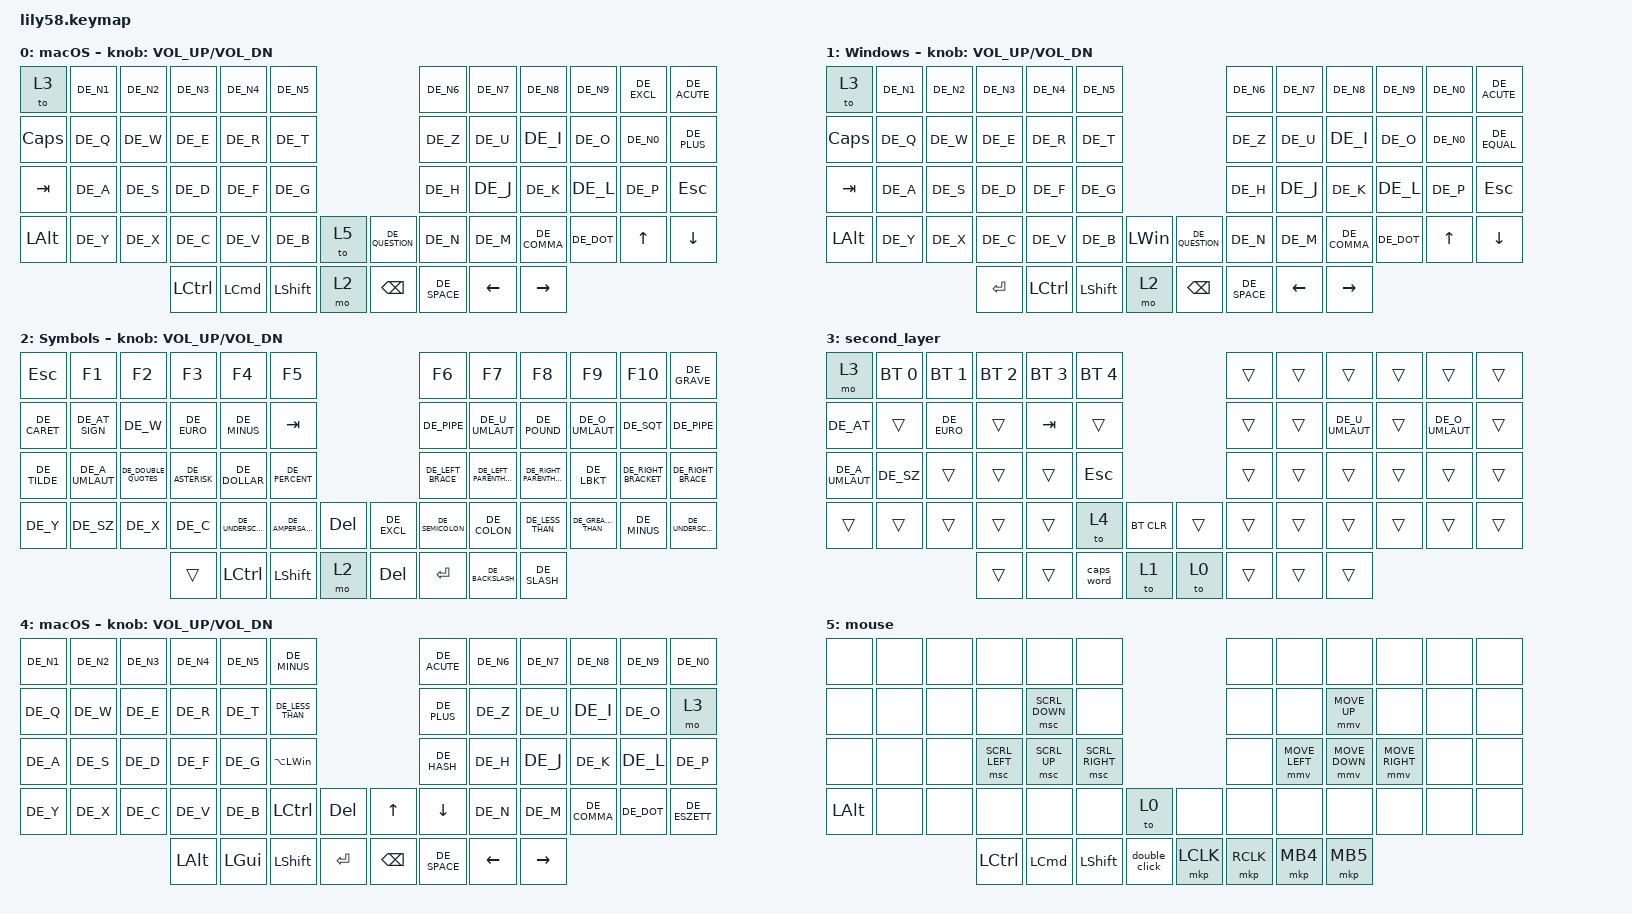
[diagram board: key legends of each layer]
/*
 * Copyright (c) 2020 The ZMK Contributors
 *
 * SPDX-License-Identifier: MIT
 */

#include "keys_de.h"

#define ZMK_POINTING_DEFAULT_MOVE_VAL 1000  // default: 600
#define ZMK_POINTING_DEFAULT_SCRL_VAL 10    // default: 10

#include <behaviors.dtsi>
#include <dt-bindings/zmk/bt.h>
#include <dt-bindings/zmk/keys.h>
#include <dt-bindings/zmk/pointing.h>

/ {
    macros {
        custom_less_then: custom_less_then {
            compatible = "zmk,behavior-macro";
            #binding-cells = <0>;
            bindings = <&kp LT>;
            label = "CUSTOM_LESS_THEN";
        };

        double_click: double_click {
            compatible = "zmk,behavior-macro";
            #binding-cells = <0>;
            bindings = <&mkp LCLK &mkp LCLK &to 0>;
            label = "DOUBLE_CLICK";
        };
    };

    keymap {
        compatible = "zmk,keymap";

        mac_base {
            display-name = "macOS";
            bindings = <
&to 3         &kp DE_N1  &kp DE_N2  &kp DE_N3         &kp DE_N4         &kp DE_N5                                 &kp DE_N6     &kp DE_N7       &kp DE_N8        &kp DE_N9   &kp DE_EXCL   &kp DE_ACUTE
&kp CAPSLOCK  &kp DE_Q   &kp DE_W   &kp DE_E          &kp DE_R          &kp DE_T                                  &kp DE_Z      &kp DE_U        &kp DE_I         &kp DE_O    &kp DE_N0     &kp DE_PLUS
&kp TAB       &kp DE_A   &kp DE_S   &kp DE_D          &kp DE_F          &kp DE_G                                  &kp DE_H      &kp DE_J        &kp DE_K         &kp DE_L    &kp DE_P      &kp ESCAPE
&kp LEFT_ALT  &kp DE_Y   &kp DE_X   &kp DE_C          &kp DE_V          &kp DE_B        &to 5    &kp DE_QUESTION  &kp DE_N      &kp DE_M        &kp DE_COMMA     &kp DE_DOT  &kp UP_ARROW  &kp DOWN_ARROW
                                    &kp LEFT_CONTROL  &kp LEFT_COMMAND  &kp LEFT_SHIFT  &mo 2    &kp BACKSPACE    &kp DE_SPACE  &kp LEFT_ARROW  &kp RIGHT_ARROW
            >;

            sensor-bindings = <&inc_dec_kp C_VOL_UP C_VOL_DN>;
        };

        windows_base {
            display-name = "Windows";
            bindings = <
&to 3         &kp DE_N1  &kp DE_N2  &kp DE_N3  &kp DE_N4         &kp DE_N5                                        &kp DE_N6     &kp DE_N7       &kp DE_N8        &kp DE_N9   &kp DE_N0     &kp DE_ACUTE
&kp CAPSLOCK  &kp DE_Q   &kp DE_W   &kp DE_E   &kp DE_R          &kp DE_T                                         &kp DE_Z      &kp DE_U        &kp DE_I         &kp DE_O    &kp DE_N0     &kp DE_EQUAL
&kp TAB       &kp DE_A   &kp DE_S   &kp DE_D   &kp DE_F          &kp DE_G                                         &kp DE_H      &kp DE_J        &kp DE_K         &kp DE_L    &kp DE_P      &kp ESCAPE
&kp LEFT_ALT  &kp DE_Y   &kp DE_X   &kp DE_C   &kp DE_V          &kp DE_B        &kp LEFT_WIN    &kp DE_QUESTION  &kp DE_N      &kp DE_M        &kp DE_COMMA     &kp DE_DOT  &kp UP_ARROW  &kp DOWN_ARROW
                                    &kp ENTER  &kp LEFT_CONTROL  &kp LEFT_SHIFT  &mo 2           &kp BACKSPACE    &kp DE_SPACE  &kp LEFT_ARROW  &kp RIGHT_ARROW
            >;

            sensor-bindings = <&inc_dec_kp C_VOL_UP C_VOL_DN>;
        };

        symbols {
            display-name = "Symbols";
            bindings = <
&kp ESCAPE    &kp F1           &kp F2                &kp F3           &kp F4             &kp F5                                       &kp F6             &kp F7                   &kp F8                    &kp F9               &kp F10               &kp DE_GRAVE
&kp DE_CARET  &kp DE_AT_SIGN   &kp DE_W              &kp DE_EURO      &kp DE_MINUS       &kp TAB                                      &kp DE_PIPE        &kp DE_U_UMLAUT          &kp DE_POUND              &kp DE_O_UMLAUT      &kp DE_SQT            &kp DE_PIPE
&kp DE_TILDE  &kp DE_A_UMLAUT  &kp DE_DOUBLE_QUOTES  &kp DE_ASTERISK  &kp DE_DOLLAR      &kp DE_PERCENT                               &kp DE_LEFT_BRACE  &kp DE_LEFT_PARENTHESIS  &kp DE_RIGHT_PARENTHESIS  &kp DE_LBKT          &kp DE_RIGHT_BRACKET  &kp DE_RIGHT_BRACE
&kp DE_Y      &kp DE_SZ        &kp DE_X              &kp DE_C         &kp DE_UNDERSCORE  &kp DE_AMPERSAND  &kp DELETE    &kp DE_EXCL  &kp DE_SEMICOLON   &kp DE_COLON             &kp DE_LESS_THAN          &kp DE_GREATER_THAN  &kp DE_MINUS          &kp DE_UNDERSCORE
                                                     &trans           &kp LEFT_CONTROL   &kp LEFT_SHIFT    &mo 2         &kp DELETE   &kp ENTER          &kp DE_BACKSLASH         &kp DE_SLASH
            >;

            sensor-bindings = <&inc_dec_kp C_VOL_UP C_VOL_DN>;
        };

        second_layer {
            bindings = <
&mo 3            &bt BT_SEL 0  &bt BT_SEL 1  &bt BT_SEL 2  &bt BT_SEL 3  &bt BT_SEL 4                        &trans  &trans  &trans           &trans  &trans           &trans
&kp DE_AT        &trans        &kp DE_EURO   &trans        &kp TAB       &trans                              &trans  &trans  &kp DE_U_UMLAUT  &trans  &kp DE_O_UMLAUT  &trans
&kp DE_A_UMLAUT  &kp DE_SZ     &trans        &trans        &trans        &kp ESCAPE                          &trans  &trans  &trans           &trans  &trans           &trans
&trans           &trans        &trans        &trans        &trans        &to 4         &bt BT_CLR    &trans  &trans  &trans  &trans           &trans  &trans           &trans
                                             &trans        &trans        &caps_word    &to 1         &to 0   &trans  &trans  &trans
            >;
        };

        default_layer {
            // ------------------------------------------------------------------------------------------------------------
            // |  ESC  |  1  |  2  |  3   |  4   |  5   |                   |  6   |  7    |  8    |  9   |   0   |   `   |
            // |  TAB  |  Q  |  W  |  E   |  R   |  T   |                   |  Y   |  U    |  I    |  O   |   P   |   -   |
            // |  CTRL |  A  |  S  |  D   |  F   |  G   |                   |  H   |  J    |  K    |  L   |   ;   |   '   |
            // | SHIFT |  Z  |  X  |  C   |  V   |  B   |   "["  |  |  "]"  |  N   |  M    |  ,    |  .   |   /   | SHIFT |
            //                     | ALT  | GUI  | LOWER|  SPACE |  | ENTER | RAISE| BSPC  | GUI   |

            display-name = "macOS";
            bindings = <
&kp DE_N1  &kp DE_N2  &kp DE_N3  &kp DE_N4  &kp DE_N5  &kp DE_MINUS                                   &kp DE_ACUTE    &kp DE_N6       &kp DE_N7        &kp DE_N8     &kp DE_N9   &kp DE_N0
&kp DE_Q   &kp DE_W   &kp DE_E   &kp DE_R   &kp DE_T   &kp DE_LESS_THAN                               &kp DE_PLUS     &kp DE_Z        &kp DE_U         &kp DE_I      &kp DE_O    &mo 3
&kp DE_A   &kp DE_S   &kp DE_D   &kp DE_F   &kp DE_G   &kp LA(LEFT_WIN)                               &kp DE_HASH     &kp DE_H        &kp DE_J         &kp DE_K      &kp DE_L    &kp DE_P
&kp DE_Y   &kp DE_X   &kp DE_C   &kp DE_V   &kp DE_B   &kp LEFT_CONTROL  &kp DELETE    &kp UP_ARROW   &kp DOWN_ARROW  &kp DE_N        &kp DE_M         &kp DE_COMMA  &kp DE_DOT  &kp DE_ESZETT
                                 &kp LALT   &kp LGUI   &kp LEFT_SHIFT    &kp ENTER     &kp BACKSPACE  &kp DE_SPACE    &kp LEFT_ARROW  &kp RIGHT_ARROW
            >;

            sensor-bindings = <&inc_dec_kp C_VOL_UP C_VOL_DN>;
        };

        mouse {
            bindings = <
&none         &none  &none  &none             &none           &none                                        &none      &none           &none           &none            &none  &none
&none         &none  &none  &none             &msc SCRL_DOWN  &none                                        &none      &none           &mmv MOVE_UP    &none            &none  &none
&none         &none  &none  &msc SCRL_LEFT    &msc SCRL_UP    &msc SCRL_RIGHT                              &none      &mmv MOVE_LEFT  &mmv MOVE_DOWN  &mmv MOVE_RIGHT  &none  &none
&kp LEFT_ALT  &none  &none  &none             &none           &none            &to 0            &none      &none      &none           &none           &none            &none  &none
                            &kp LEFT_CONTROL  &kp LCMD        &kp LEFT_SHIFT   &double_click    &mkp LCLK  &mkp RCLK  &mkp MB4        &mkp MB5
            >;
        };
    };
};
